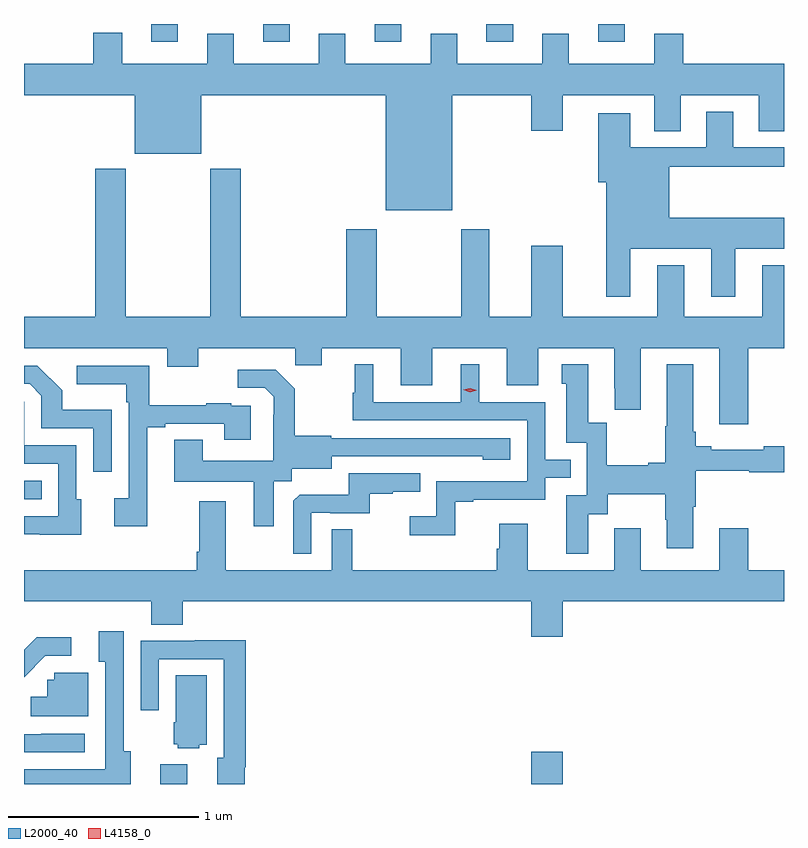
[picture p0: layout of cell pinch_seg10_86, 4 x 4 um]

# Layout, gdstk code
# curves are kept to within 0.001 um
import gdstk
lib = gdstk.Library(unit=1e-6, precision=1e-09)
def R(c, l, rs):  # rectangles x0, y0, x1, y1
    for r in rs: c.add(gdstk.rectangle(r[:2], r[2:], *l))
def A(c, l, x, y, w, h, nx, ny, dx, dy):  # array of equal rectangles
    R(c, l, [(x+i*dx, y+j*dy, x+i*dx+w, y+j*dy+h) for i in range(nx) for j in range(ny)])
def P(c, l, *ps):  # polygons
    for p in ps: c.add(gdstk.Polygon(p, *l))
L2000_40 = (2000, 40)
L4158_0 = (4158, 0)

pinch_seg10_86 = lib.new_cell('pinch_seg10_86')
A(pinch_seg10_86, L2000_40, 738.431, 1291.272, 0.14, 0.094, 5, 1, 0.588, 0)
R(pinch_seg10_86, L2000_40, [(738.479,1287.366,738.619,1287.469), (740.432,1287.366,740.596,1287.535), (737.761,1288.866,737.855,1288.962)])
P(pinch_seg10_86, L2000_40, [(740.014,1290.992),(740.432,1290.992),(740.432,1290.804),(740.596,1290.804),(740.596,1290.992),(741.077,1290.992),(741.077,1290.802),(741.217,1290.802),(741.217,1290.992),(741.629,1290.992),(741.629,1290.802),(741.761,1290.802),(741.761,1291.156),(741.23,1291.156),(741.23,1291.315),(741.077,1291.315),(741.077,1291.156),(740.629,1291.156),(740.629,1291.316),(740.489,1291.316),(740.489,1291.156),(740.041,1291.156),(740.041,1291.316),(739.901,1291.316),(739.901,1291.156),(739.453,1291.156),(739.453,1291.316),(739.313,1291.316),(739.313,1291.156),(738.865,1291.156),(738.865,1291.316),(738.725,1291.316),(738.725,1291.156),(738.277,1291.156),(738.277,1291.321),(738.125,1291.321),(738.125,1291.156),(737.761,1291.156),(737.761,1290.992),(738.344,1290.992),(738.344,1290.683),(738.694,1290.683),(738.694,1290.992),(739.664,1290.992),(739.664,1290.386),(740.014,1290.386)],
  [(740.953,1290.182),(741.377,1290.182),(741.377,1289.931),(741.505,1289.931),(741.505,1290.182),(741.761,1290.182),(741.761,1290.346),(741.157,1290.346),(741.157,1290.616),(741.761,1290.616),(741.761,1290.717),(741.493,1290.717),(741.493,1290.904),(741.353,1290.904),(741.353,1290.717),(740.953,1290.717),(740.953,1290.895),(740.783,1290.895),(740.783,1290.533),(740.825,1290.533),(740.825,1289.931),(740.953,1289.931)],
  [(741.572,1289.66),(741.761,1289.66),(741.761,1290.097),(741.647,1290.097),(741.647,1289.824),(741.235,1289.824),(741.235,1290.097),(741.095,1290.097),(741.095,1289.824),(740.596,1289.824),(740.596,1290.199),(740.432,1290.199),(740.432,1289.824),(740.209,1289.824),(740.209,1290.286),(740.062,1290.286),(740.062,1289.824),(739.617,1289.824),(739.617,1290.286),(739.457,1290.286),(739.457,1289.824),(738.902,1289.824),(738.902,1290.604),(738.742,1290.604),(738.742,1289.824),(738.297,1289.824),(738.297,1290.604),(738.137,1290.604),(738.137,1289.824),(737.761,1289.824),(737.761,1289.66),(738.515,1289.66),(738.515,1289.561),(738.679,1289.561),(738.679,1289.66),(739.189,1289.66),(739.189,1289.57),(739.327,1289.57),(739.327,1289.66),(739.745,1289.66),(739.745,1289.466),(739.909,1289.466),(739.909,1289.66),(740.303,1289.66),(740.303,1289.466),(740.467,1289.466),(740.467,1289.66),(740.867,1289.66),(740.867,1289.449),(740.87,1289.449),(740.87,1289.337),(741.007,1289.337),(741.007,1289.66),(741.419,1289.66),(741.419,1289.259),(741.572,1289.259)],
  [(740.031,1288.851),(740.125,1288.851),(740.125,1288.863),(740.505,1288.863),(740.505,1288.977),(740.639,1288.977),(740.639,1289.073),(740.505,1289.073),(740.505,1289.376),(740.158,1289.376),(740.158,1289.575),(740.06,1289.575),(740.06,1289.376),(739.6,1289.376),(739.6,1289.575),(739.502,1289.575),(739.502,1289.424),(739.491,1289.424),(739.491,1289.28),(740.409,1289.28),(740.409,1288.959),(739.932,1288.959),(739.932,1288.774),(739.791,1288.774),(739.791,1288.676),(740.031,1288.676)],
  [(740.731,1288.786),(740.833,1288.786),(740.833,1288.892),(741.136,1288.892),(741.136,1288.758),(741.143,1288.758),(741.143,1288.608),(741.283,1288.608),(741.283,1288.826),(741.296,1288.826),(741.296,1289.016),(741.579,1289.016),(741.579,1289.008),(741.761,1289.008),(741.761,1289.144),(741.655,1289.144),(741.655,1289.125),(741.379,1289.125),(741.379,1289.144),(741.296,1289.144),(741.296,1289.221),(741.283,1289.221),(741.283,1289.575),(741.143,1289.575),(741.143,1289.249),(741.136,1289.249),(741.136,1289.057),(741.047,1289.057),(741.047,1289.044),(740.829,1289.044),(740.829,1289.267),(740.731,1289.267),(740.731,1289.575),(740.591,1289.575),(740.591,1289.472),(740.615,1289.472),(740.615,1289.163),(740.724,1289.163),(740.724,1288.887),(740.615,1288.887),(740.615,1288.578),(740.731,1288.578)],
  [(738.409,1289.244),(738.505,1289.244),(738.505,1289.262),(738.815,1289.262),(738.815,1289.178),(738.955,1289.178),(738.955,1289.358),(738.851,1289.358),(738.851,1289.371),(738.719,1289.371),(738.719,1289.36),(738.421,1289.36),(738.421,1289.568),(738.039,1289.568),(738.039,1289.471),(738.3,1289.471),(738.3,1289.375),(738.312,1289.375),(738.312,1288.87),(738.237,1288.87),(738.237,1288.722),(738.409,1288.722)],
  [(738.222,1289.335),(737.961,1289.335),(737.961,1289.438),(737.83,1289.568),(737.761,1289.568),(737.761,1289.472),(737.79,1289.472),(737.853,1289.409),(737.853,1289.238),(738.126,1289.238),(738.126,1289.01),(738.222,1289.01)],
  [(739.075,1288.96),(739.17,1288.96),(739.17,1289.024),(739.381,1289.024),(739.381,1289.091),(740.175,1289.09),(740.175,1289.072),(740.32,1289.072),(740.32,1289.187),(739.377,1289.187),(739.377,1289.2),(739.185,1289.2),(739.185,1289.445),(739.085,1289.545),(738.885,1289.545),(738.885,1289.451),(739.029,1289.451),(739.076,1289.404),(739.076,1289.309),(739.074,1289.309),(739.074,1289.068),(738.703,1289.068),(738.703,1289.177),(738.551,1289.177),(738.551,1288.958),(738.971,1288.958),(738.971,1288.722),(739.075,1288.722)],
  [(738.061,1288.866),(738.036,1288.866),(738.036,1289.148),(737.763,1289.148),(737.763,1289.377),(737.761,1289.377),(737.761,1289.052),(737.94,1289.052),(737.94,1288.776),(737.761,1288.776),(737.761,1288.68),(737.843,1288.68),(737.843,1288.679),(738.061,1288.679)],
  [(739.272,1288.794),(739.372,1288.794),(739.372,1288.791),(739.58,1288.791),(739.58,1288.893),(739.703,1288.893),(739.703,1288.904),(739.847,1288.904),(739.847,1289.001),(739.47,1289.001),(739.47,1288.889),(739.211,1288.889),(739.179,1288.857),(739.179,1288.577),(739.272,1288.577)],
  [(740.596,1288.328),(741.761,1288.328),(741.761,1288.492),(741.572,1288.492),(741.572,1288.711),(741.419,1288.711),(741.419,1288.492),(741.007,1288.492),(741.007,1288.711),(740.867,1288.711),(740.867,1288.492),(740.413,1288.492),(740.413,1288.735),(740.261,1288.735),(740.261,1288.605),(740.249,1288.605),(740.249,1288.492),(739.489,1288.492),(739.489,1288.706),(739.38,1288.706),(739.38,1288.492),(738.823,1288.492),(738.823,1288.855),(738.683,1288.855),(738.683,1288.588),(738.671,1288.588),(738.671,1288.492),(737.761,1288.492),(737.761,1288.328),(738.431,1288.328),(738.431,1288.204),(738.596,1288.204),(738.596,1288.328),(740.432,1288.328),(740.432,1288.14),(740.596,1288.14)],
  [(738.322,1287.538),(738.285,1287.538),(738.285,1288.171),(738.155,1288.171),(738.155,1288.01),(738.189,1288.01),(738.189,1287.444),(737.761,1287.444),(737.761,1287.366),(738.322,1287.366)],
  [(737.874,1288.041),(738.01,1288.041),(738.01,1288.139),(737.828,1288.139),(737.761,1288.072),(737.761,1287.928)],
  [(738.922,1287.454),(738.929,1287.454),(738.929,1288.123),(738.659,1288.123),(738.659,1288.119),(738.375,1288.119),(738.375,1287.753),(738.471,1287.753),(738.471,1288.023),(738.813,1288.023),(738.813,1287.503),(738.779,1287.503),(738.779,1287.366),(738.922,1287.366)],
  [(738.1,1287.951),(737.919,1287.951),(737.919,1287.915),(737.883,1287.915),(737.883,1287.826),(737.796,1287.826),(737.796,1287.723),(738.1,1287.723)],
  [(738.684,1287.572),(738.724,1287.572),(738.724,1287.938),(738.56,1287.938),(738.56,1287.69),(738.548,1287.69),(738.548,1287.576),(738.57,1287.576),(738.57,1287.554),(738.684,1287.554)],
  [(738.082,1287.63),(737.851,1287.63),(737.851,1287.627),(737.761,1287.627),(737.761,1287.534),(738.082,1287.534)])
P(pinch_seg10_86, L4158_0, [(740.109,1289.429),(740.073,1289.44),(740.073,1289.44),(740.073,1289.44),(740.109,1289.449),(740.145,1289.438),(740.145,1289.438),(740.145,1289.438)])

lib.write_gds('pinch_seg10_86.gds')
